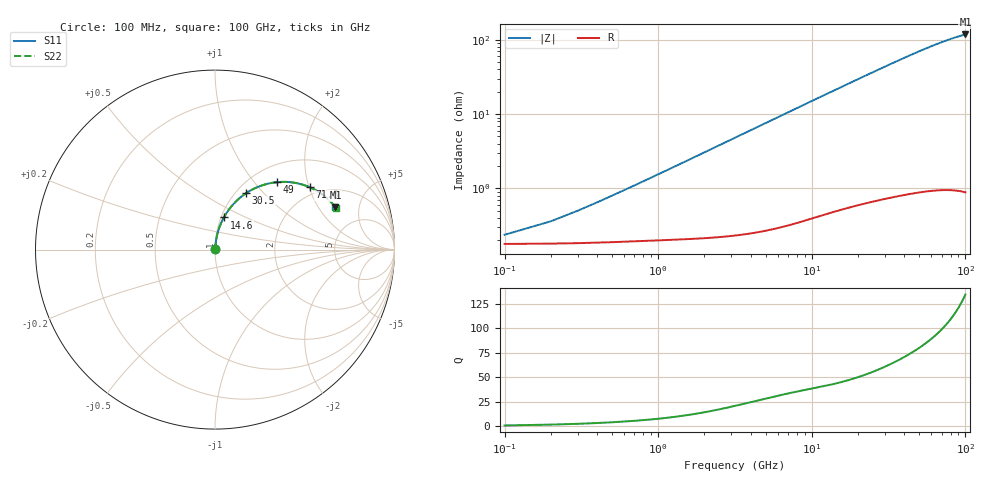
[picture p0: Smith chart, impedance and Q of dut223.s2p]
! Touchstone file exported from HFSS 2026.1.0
!  File:  C:/ffzhzh/LocalFiles/Ansys_Project_Files/temp_train_RDL_223_1783501060_31944.aedt
!  Generated:  04:58:45 PM Jul  8, 2026
!  Design:  RDL
!  Project:  temp_train_RDL_223_1783501060_31944
! Variables:
!  h_bsmrdl = 2um
!  h_ox = 20um
!  h_rdl = 5um
!  h_sub = 80um
!  h_tmrdl = 3.49um
!  h_tsv = 80um
!  h_via = 3um
!  l_bsmrdl = 300um
!  l_sub = 580.03um
!  l_tmrdl = 180.03um
!  m_sub = 200um
!  pitch = 54.35um
!  r_tsv = 6um
!  s_tmrdl = 10um
!  w_bsmrdl = 18um
!  w_sub = 500um
!  w_tmrdl = 11.15um
!  x_tsv_center1 = 185.605um
!  x_tsv_center2 = 503.605um
!  x_tsv_center3 = 694.785um
!  x_tsv_center4 = 1012.785um
!  x_tsv_center5 = 1203.965um
!  x_tsv_center6 = 1521.965um
# GHz S MA R 50.000000
! Terminal data exported
! Port[1] = TM_RDL1_1_T1
! Port[2] = TM_RDL1_1_T2
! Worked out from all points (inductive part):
!   1000 points, 100 MHz to 100 GHz, reference 50 ohm
!   read as one part in series: L = 244 pH near 600 MHz
!   highest Q = 134 at 100 GHz (marker M1), where L = 189 pH
!   S11 on the Smith chart (normalised r, x): 100 MHz: 1.00, +0.00; 14.6 GHz: 1.03, +0.38; 30.5 GHz: 1.11, +0.80; 49 GHz: 1.30, +1.32; 71.6 GHz: 1.74, +2.02; 100 GHz: 3.02, +2.88
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0.1  0.002242 37.4  0.9982 -0.1  0.9982 -0.1  0.002242 37.4
! Gamma 0 0 0 0
! Port Impedance 50 0 50 0
0.3  0.004465 65.6  0.9982 -0.3  0.9982 -0.3  0.004465 65.6
0.7  0.009602 77.7  0.998 -0.7  0.998 -0.7  0.009602 77.7
0.9  0.01221 79.8  0.998 -0.9  0.998 -0.9  0.01221 79.8
1.4  0.01875 82.4  0.9978 -1.4  0.9978 -1.4  0.01875 82.4
1.8  0.02401 83.2  0.9976 -1.8  0.9976 -1.8  0.02401 83.2
2.3  0.03058 83.7  0.9974 -2.3  0.9974 -2.3  0.03058 83.7
3.6  0.04763 83.6  0.9965 -3.5  0.9965 -3.5  0.04763 83.6
5.5  0.07236 82.4  0.9946 -5.4  0.9946 -5.4  0.07236 82.4
7.9  0.1031 80.5  0.9913 -7.7  0.9913 -7.7  0.1031 80.5
10.9  0.1408 77.8  0.986 -10.5  0.986 -10.5  0.1408 77.8
14.6  0.1858 74.6  0.9777 -13.9  0.9777 -13.9  0.1858 74.6
16.8  0.2119 72.7  0.9721 -15.9  0.9721 -15.9  0.2119 72.6
23  0.2818 67.3  0.9534 -21.5  0.9534 -21.5  0.2818 67.3
30.5  0.3589 61.1  0.9266 -27.8  0.9266 -27.8  0.3589 61.1
33.4  0.3863 58.8  0.9154 -30.2  0.9154 -30.2  0.3863 58.8
49  0.5111 47.4  0.852 -41.8  0.852 -41.8  0.5111 47.3
50.1  0.5185 46.6  0.8475 -42.6  0.8475 -42.6  0.5185 46.6
66.7  0.6105 36.2  0.7843 -53.1  0.7843 -53.1  0.6105 36.2
71.6  0.6315 33.5  0.7678 -55.9  0.7678 -55.9  0.6315 33.4
83.4  0.6724 27.2  0.7327 -62.2  0.7327 -62.2  0.6724 27.2
100  0.7113 19.3  0.6954 -70.2  0.6954 -70.2  0.7113 19.2
